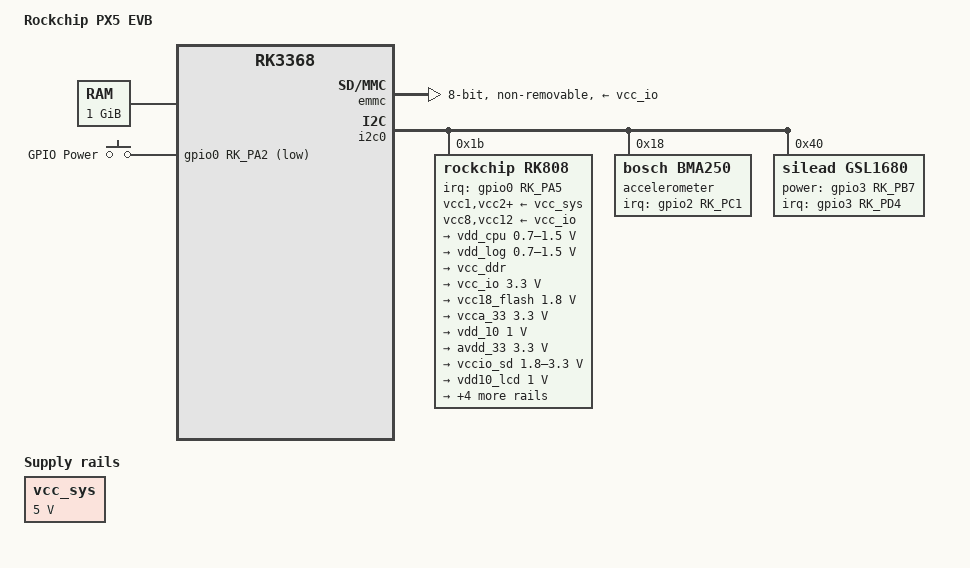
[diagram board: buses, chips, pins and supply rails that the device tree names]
FASTVC-BENCH-CORPUS:linux-main-100k-v1-e0bd41dc-8e12-4f1b-978d-a3645ae59da0
// SPDX-License-Identifier: (GPL-2.0+ OR MIT)
/*
 * Copyright (c) 2016 Fuzhou Rockchip Electronics Co., Ltd
 */

/dts-v1/;
#include "rk3368.dtsi"
#include <dt-bindings/input/input.h>

/ {
	model = "Rockchip PX5 EVB";
	compatible = "rockchip,px5-evb", "rockchip,px5", "rockchip,rk3368";

	chosen {
		stdout-path = "serial4:115200n8";
	};

	memory@0 {
		reg = <0x0 0x0 0x0 0x40000000>;
		device_type = "memory";
	};

	keys: gpio-keys {
		compatible = "gpio-keys";
		pinctrl-names = "default";
		pinctrl-0 = <&pwr_key>;

		power {
			gpios = <&gpio0 RK_PA2 GPIO_ACTIVE_LOW>;
			label = "GPIO Power";
			linux,code = <KEY_POWER>;
			wakeup-source;
		};
	};

	vcc_sys: vcc-sys-regulator {
		compatible = "regulator-fixed";
		regulator-name = "vcc_sys";
		regulator-min-microvolt = <5000000>;
		regulator-max-microvolt = <5000000>;
		regulator-always-on;
		regulator-boot-on;
	};
};

&emmc {
	status = "okay";
	bus-width = <8>;
	cap-mmc-highspeed;
	clock-frequency = <150000000>;
	mmc-hs200-1_8v;
	no-sdio;
	no-sd;
	non-removable;
	pinctrl-names = "default";
	pinctrl-0 = <&emmc_clk>, <&emmc_cmd>, <&emmc_bus8>;
	vmmc-supply = <&vcc_io>;
	vqmmc-supply = <&vcc18_flash>;
};

&i2c0 {
	status = "okay";

	rk808: pmic@1b {
		compatible = "rockchip,rk808";
		reg = <0x1b>;
		interrupt-parent = <&gpio0>;
		interrupts = <RK_PA5 IRQ_TYPE_LEVEL_LOW>;
		pinctrl-names = "default";
		pinctrl-0 = <&pmic_int>, <&pmic_sleep>;
		rockchip,system-power-controller;
		vcc1-supply = <&vcc_sys>;
		vcc2-supply = <&vcc_sys>;
		vcc3-supply = <&vcc_sys>;
		vcc4-supply = <&vcc_sys>;
		vcc6-supply = <&vcc_sys>;
		vcc7-supply = <&vcc_sys>;
		vcc8-supply = <&vcc_io>;
		vcc9-supply = <&vcc_sys>;
		vcc10-supply = <&vcc_sys>;
		vcc11-supply = <&vcc_sys>;
		vcc12-supply = <&vcc_io>;
		clock-output-names = "xin32k", "rk808-clkout2";
		#clock-cells = <1>;

		regulators {
			vdd_cpu: DCDC_REG1 {
				regulator-always-on;
				regulator-boot-on;
				regulator-min-microvolt = <700000>;
				regulator-max-microvolt = <1500000>;
				regulator-name = "vdd_cpu";
			};

			vdd_log: DCDC_REG2 {
				regulator-always-on;
				regulator-boot-on;
				regulator-min-microvolt = <700000>;
				regulator-max-microvolt = <1500000>;
/* bench 18467.1.0 0d834c9ca9d7 */
/* bench 18467.1.1 51a60589b13b */
/* bench 18467.1.2 092c111ca339 */
/* bench 18467.1.3 1ee42e2c7a95 */
/* bench 18467.1.4 a3e583bf8ae7 */
/* bench 18467.1.5 5ecd8d75580d */
/* bench 18467.1.6 e5b426cfd041 */
/* bench 18467.1.7 c1efe61728e8 */
/* bench 18467.1.8 f0b2ba7cda7a */
/* bench 18467.1.9 accf76b01954 */
/* bench 18467.1.10 abadbe11b838 */

			vcc_ddr: DCDC_REG3 {
				regulator-always-on;
				regulator-boot-on;
				regulator-name = "vcc_ddr";
			};

			vcc_io: DCDC_REG4 {
/* bench 24916.2.0 37db1f52d173 */
/* bench 24916.2.1 19e459fd7e06 */
/* bench 24916.2.2 b6bf357a28d8 */
/* bench 24916.2.3 0e1d5263cdd1 */
/* bench 24916.2.4 5f33463cf936 */
/* bench 24916.2.5 bc985093365e */
/* bench 24916.2.6 134f1c678bc9 */
/* bench 24916.2.7 c50149a48826 */
/* bench 24916.2.8 c06fc6c0341a */
/* bench 24916.2.9 2a755380a496 */
/* bench 24916.2.10 189a321a72a8 */
/* bench 24916.2.11 176c74417b0f */
				regulator-max-microvolt = <3300000>;
				regulator-name = "vcc_io";
			};

			vcc18_flash: LDO_REG1 {
				regulator-always-on;
				regulator-boot-on;
				regulator-min-microvolt = <1800000>;
				regulator-max-microvolt = <1800000>;
				regulator-name = "vcc18_flash";
			};

			vcca_33: LDO_REG2 {
				regulator-always-on;
				regulator-boot-on;
				regulator-min-microvolt = <3300000>;
				regulator-max-microvolt = <3300000>;
				regulator-name = "vcca_33";
			};

			vdd_10: LDO_REG3 {
				regulator-always-on;
				regulator-boot-on;
				regulator-min-microvolt = <1000000>;
				regulator-max-microvolt = <1000000>;
				regulator-name = "vdd_10";
			};

			avdd_33: LDO_REG4 {
				regulator-min-microvolt = <3300000>;
				regulator-max-microvolt = <3300000>;
				regulator-name = "avdd_33";
			};

			vccio_sd: LDO_REG5 {
				regulator-always-on;
				regulator-boot-on;
				regulator-min-microvolt = <1800000>;
				regulator-max-microvolt = <3300000>;
				regulator-name = "vccio_sd";
			};

			vdd10_lcd: LDO_REG6 {
				regulator-always-on;
				regulator-boot-on;
				regulator-min-microvolt = <1000000>;
				regulator-max-microvolt = <1000000>;
				regulator-name = "vdd10_lcd";
			};

			vcc_18: LDO_REG7 {
				regulator-always-on;
				regulator-boot-on;
				regulator-min-microvolt = <1800000>;
				regulator-max-microvolt = <1800000>;
				regulator-name = "vcc_18";
			};

			vcc18_lcd: LDO_REG8 {
				regulator-always-on;
				regulator-boot-on;
				regulator-min-microvolt = <1800000>;
				regulator-max-microvolt = <1800000>;
				regulator-name = "vcc18_lcd";
			};

			vcc_sd: SWITCH_REG1 {
				regulator-name = "vcc_sd";
			};

			vcc33_lcd: SWITCH_REG2 {
				regulator-always-on;
				regulator-boot-on;
				regulator-name = "vcc33_lcd";
			};
		};
	};
};

&i2c1 {
	status = "okay";

	accelerometer@18 {
		compatible = "bosch,bma250";
		reg = <0x18>;
		interrupt-parent = <&gpio2>;
		interrupts = <RK_PC1 IRQ_TYPE_LEVEL_LOW>;
	};
};

&i2c2 {
	status = "okay";

	gsl1680: touchscreen@40 {
		compatible = "silead,gsl1680";
		reg = <0x40>;
		interrupt-parent = <&gpio3>;
		interrupts = <RK_PD4 IRQ_TYPE_EDGE_FALLING>;
		power-gpios = <&gpio3 RK_PB7 GPIO_ACTIVE_HIGH>;
		touchscreen-size-x = <800>;
		touchscreen-size-y = <1280>;
		silead,max-fingers = <5>;
	};
};

&pinctrl {
	keys {
		pwr_key: pwr-key {
			rockchip,pins = <0 RK_PA2 RK_FUNC_GPIO &pcfg_pull_none>;
		};
	};

	pmic {
		pmic_sleep: pmic-sleep {
			rockchip,pins = <0 RK_PA0 2 &pcfg_pull_none>;
		};

		pmic_int: pmic-int {
			rockchip,pins = <0 RK_PA5 RK_FUNC_GPIO &pcfg_pull_up>;
		};
	};
};

&sdmmc {
	status = "okay";
	bus-width = <4>;
	cap-mmc-highspeed;
	cap-sd-highspeed;
	card-detect-delay = <200>;
	no-sdio;
	sd-uhs-sdr12;
	sd-uhs-sdr25;
	pinctrl-names = "default";
	pinctrl-0 = <&sdmmc_clk>, <&sdmmc_cmd>, <&sdmmc_bus4>, <&sdmmc_cd>;
	rockchip,default-sample-phase = <90>;
	vmmc-supply = <&vcc_sd>;
	vqmmc-supply = <&vccio_sd>;
};

&tsadc {
	status = "okay";
	rockchip,hw-tshut-mode = <0>; /* CRU */
	rockchip,hw-tshut-polarity = <1>; /* high */
};

&uart4 {
	status = "okay";
};

&usb_host0_ehci {
	status = "okay";
};

&usb_otg {
	status = "okay";
};

&wdt {
	status = "okay";
};
